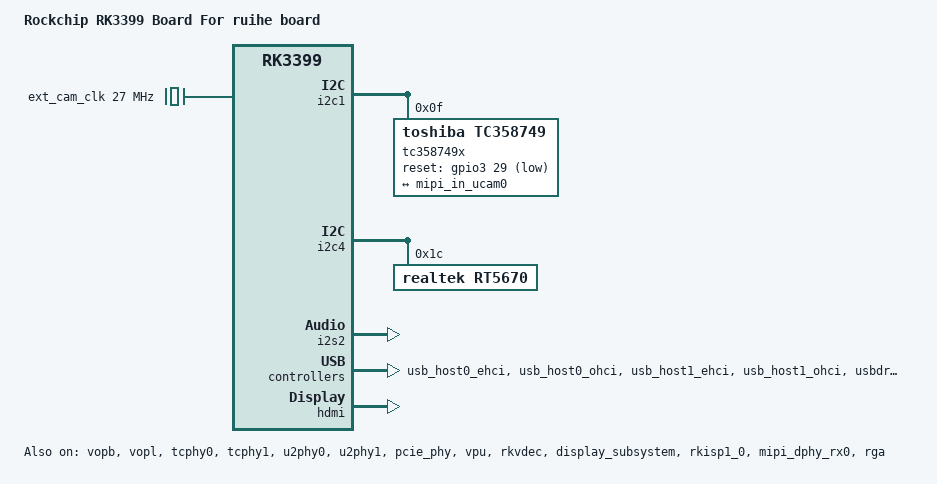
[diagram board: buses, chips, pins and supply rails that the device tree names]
/*
 * Copyright (c) 2016 Fuzhou Rockchip Electronics Co., Ltd
 *
 * This file is dual-licensed: you can use it either under the terms
 * of the GPL or the X11 license, at your option. Note that this dual
 * licensing only applies to this file, and not this project as a
 * whole.
 *
 *  a) This file is free software; you can redistribute it and/or
 *     modify it under the terms of the GNU General Public License as
 *     published by the Free Software Foundation; either version 2 of the
 *     License, or (at your option) any later version.
 *
 *     This file is distributed in the hope that it will be useful,
 *     but WITHOUT ANY WARRANTY; without even the implied warranty of
 *     MERCHANTABILITY or FITNESS FOR A PARTICULAR PURPOSE.  See the
 *     GNU General Public License for more details.
 *
 * Or, alternatively,
 *
 *  b) Permission is hereby granted, free of charge, to any person
 *     obtaining a copy of this software and associated documentation
 *     files (the "Software"), to deal in the Software without
 *     restriction, including without limitation the rights to use,
 *     copy, modify, merge, publish, distribute, sublicense, and/or
 *     sell copies of the Software, and to permit persons to whom the
 *     Software is furnished to do so, subject to the following
 *     conditions:
 *
 *     The above copyright notice and this permission notice shall be
 *     included in all copies or substantial portions of the Software.
 *
 *     THE SOFTWARE IS PROVIDED "AS IS", WITHOUT WARRANTY OF ANY KIND,
 *     EXPRESS OR IMPLIED, INCLUDING BUT NOT LIMITED TO THE WARRANTIES
 *     OF MERCHANTABILITY, FITNESS FOR A PARTICULAR PURPOSE AND
 *     NONINFRINGEMENT. IN NO EVENT SHALL THE AUTHORS OR COPYRIGHT
 *     HOLDERS BE LIABLE FOR ANY CLAIM, DAMAGES OR OTHER LIABILITY,
 *     WHETHER IN AN ACTION OF CONTRACT, TORT OR OTHERWISE, ARISING
 *     FROM, OUT OF OR IN CONNECTION WITH THE SOFTWARE OR THE USE OR
 *     OTHER DEALINGS IN THE SOFTWARE.
 */

/dts-v1/;
#include "rk3399-ruihe.dtsi"

/ {
	model = "Rockchip RK3399 Board For ruihe board";
	compatible = "rockchip-ruihe","rockchip,rk3399-ruihe";
	fiq_debugger: fiq-debugger {
		compatible = "rockchip,fiq-debugger";
		rockchip,serial-id = <2>;
		rockchip,signal-irq = <182>;
		rockchip,wake-irq = <0>;
		rockchip,irq-mode-enable = <1>;  /* If enable uart uses irq instead of fiq */
		rockchip,baudrate = <1500000>;  /* Only 115200 and 1500000 */
		pinctrl-names = "default";
		pinctrl-0 = <&uart2c_xfer>;
	};

	hdmi_codec: hdmi-codec {
		status="okay";
		compatible = "simple-audio-card";
		simple-audio-card,format = "i2s";
		simple-audio-card,mclk-fs = <256>;
		simple-audio-card,name = "HDMI-CODEC";

		simple-audio-card,cpu {
			sound-dai = <&i2s2>;
		};

		simple-audio-card,codec {
			sound-dai = <&hdmi>;
		};
	};

	rga: rga@ff680000 {
                compatible = "rockchip,rga2";
                dev_mode = <1>;
                reg = <0x0 0xff680000 0x0 0x1000>;
                interrupts = <GIC_SPI 55 IRQ_TYPE_LEVEL_HIGH 0>;
                clocks = <&cru ACLK_RGA>, <&cru HCLK_RGA>, <&cru SCLK_RGA_CORE>;
                clock-names = "aclk_rga", "hclk_rga", "clk_rga";
                power-domains = <&power RK3399_PD_RGA>;
                dma-coherent;
                status = "okay";
        };
	ext_cam_clk: external-camera-clock {
		compatible = "fixed-clock";
		clock-frequency = <27000000>;
		clock-output-names = "CLK_CAMERA_27MHZ";
		#clock-cells = <0>;
	};
};

&rga{
	status="okay";
};
&gpio3 {
	status = "okay";
};
&gpio4 {
	status = "okay";
};
&i2c1 {
	status = "okay";
	tc358749x: tc358749x@f {
		compatible = "toshiba,tc358749";
	//	#sound-dai-cells = <0>;
		reg = <0x0f>;
		status = "okay";
		clocks = <&ext_cam_clk>;
		clock-names = "refclk";
		reset-gpios = <&gpio3 29 GPIO_ACTIVE_LOW>;
		/* hardware irq-pin is dangling
		 * connect it to other gpio then configurate follow interrupt
		 * or del config just using software poll
		 */
		//interrupt-parent = <&gpio2>;
		//interrupts = <12 IRQ_TYPE_LEVEL_LOW>;
		pinctrl-names = "default";
		pinctrl-0 = <&hdmiin_gpios>;
		rockchip,camera-module-index = <0>;
		rockchip,camera-module-facing = "back";
		rockchip,camera-module-name = "CMK-CT0116";
		rockchip,camera-module-lens-name = "Largan-50013A1";
		port {
			hdmiin_out0: endpoint {
				/* Unlinked mipi dphy rx0 */
				remote-endpoint = <&mipi_in_ucam0>;
				data-lanes = <1 2 3 4>;
				clock-noncontinuous;
				link-frequencies =
					/bits/ 64 <297000000>;
			};
		};
	};
};

&i2c4 {
	status = "okay";
	rt5670: rt5670@1c {
		#sound-dai-cells = <0>;
		compatible = "realtek,rt5670";
		reg = <0x1c>;
		status = "okay";
	};
};

&i2s2 {
	status = "okay";
	#sound-dai-cells = <0>;
};

&vopb {
	status = "okay";
};

&vopb_mmu {
	status = "okay";
};

&vopl {
	status = "okay";
};

&vopl_mmu {
	status = "okay";
};

/* USB2.0 Host * 2 */
&usb_host0_ehci {
	status = "okay";
};

&usb_host0_ohci {
	status = "okay";
};

&usb_host1_ehci {
	status = "okay";
};

&usb_host1_ohci {
	status = "okay";
};

&tcphy0 {
	status = "okay";
};

&tcphy1 {
	status = "okay";
};

&u2phy0 {
        status = "okay";

        u2phy0_otg: otg-port {
                status = "okay";
        };

        u2phy0_host: host-port {
                phy-supply = <&vcc5v0_sys>;
                status = "okay";
        };
};

&u2phy1 {
        status = "okay";

        u2phy1_otg: otg-port {
                status = "okay";
        };

        u2phy1_host: host-port {
                phy-supply = <&vcc5v0_sys>;
                status = "okay";
        };
};

&usbdrd3_0 {
        status = "okay";
};

&usbdrd_dwc3_0 {
	pyhs = <&u2phy0_otg>;
	phy-names = "usb2-phy";
        status = "okay";
};

&usbdrd3_1 {
        status = "okay";
};

&usbdrd_dwc3_1 {
        status = "okay";
};

/* PCIE SATA HD */
&pcie_phy {
	status = "okay";
};

&vpu {
	status = "okay";
	/* 0 means ion, 1 means drm */
	//allocator = <0>;
};

&rkvdec {
	status = "okay";
	/* 0 means ion, 1 means drm */
	//allocator = <0>;
};

&display_subsystem {
	status = "okay";
};

&hdmi {
	#address-cells = <1>;
	#size-cells = <0>;
	#sound-dai-cells = <0>;
	status = "okay";
};

&rkisp1_0 {
	status = "okay";

	port {
		#address-cells = <1>;
		#size-cells = <0>;

		isp0_mipi_in: endpoint@0 {
			reg = <0>;
			remote-endpoint = <&dphy_rx0_out>;
		};
	};
};


&mipi_dphy_rx0 {
	status = "okay";

	ports {
		#address-cells = <1>;
		#size-cells = <0>;
		port@0 {
			reg = <0>;
			#address-cells = <1>;
			#size-cells = <0>;

			mipi_in_ucam0: endpoint@1 {
				reg = <1>;
				remote-endpoint = <&hdmiin_out0>;
				data-lanes = <1 2 3 4>;
			};
		};
		port@1 {
			reg = <1>;
			#address-cells = <1>;
			#size-cells = <0>;

			dphy_rx0_out: endpoint@0 {
				reg = <0>;
				remote-endpoint = <&isp0_mipi_in>;
			};
		};
	};
};

&isp0_mmu {
	status = "okay";
};


&isp1_mmu {
	status = "okay";
};

&pinctrl {
	hdmiin {
		hdmiin_gpios: hdmiin_gpios {
			rockchip,pins =
                                <2 2 RK_FUNC_GPIO &pcfg_output_low>,            //GPIO2_A2   MUTE
                                <2 3 RK_FUNC_GPIO &pcfg_output_low>,            //GPIO2_A3   RELAY_CK_OUT3
                                <2 4 RK_FUNC_GPIO &pcfg_output_high>,           //GPIO2_A4   ZIGBEE_RESET
                                <2 5 RK_FUNC_GPIO &pcfg_output_low>,            //GPIO2_A5   kz_12v_ctr_pc
                                <2 6 RK_FUNC_GPIO &pcfg_output_low>,            //GPIO2_A6   kz_pc_switch
                                <2 7 RK_FUNC_GPIO &pcfg_output_low>,            //GPIO2_A7   kz_5v_CTR

                                <2 8 RK_FUNC_GPIO &pcfg_output_high>,           //GPIO2_B0   SD_LR_CTR
                                <2 9 RK_FUNC_GPIO &pcfg_output_low>,            //GPIO2_B1   SPI2_RXD

                                <2 10 RK_FUNC_GPIO &pcfg_output_high>,          //GPIO2_B2   SPI2_TXD

                                <2 11 RK_FUNC_GPIO &pcfg_output_low>,           //GPIO2_B3   SPI_CLK

                                <2 12 RK_FUNC_GPIO &pcfg_output_low>,           //GPIO2_B4   SPI2_CSn0

                                <3 10 RK_FUNC_GPIO &pcfg_output_low>,           //GPIO3_B2    OUTPUT_IO3
                                <3 16 RK_FUNC_GPIO &pcfg_output_low>,           //GPIO3_C0    HDMI3399_DP_HPD


                                <1 3  RK_FUNC_GPIO &pcfg_output_low>,           //GPIO1_A3    HDMI3399_PORT_HPD

                                <1 4  RK_FUNC_GPIO &pcfg_output_high>,          //GPIO1_A4    HDMIIN2_PWR

                                <1 22  RK_FUNC_GPIO &pcfg_output_low>,          //GPIO1_C6     kz_5v_ctr_arm


                                <2 26  RK_FUNC_GPIO &pcfg_output_low>,          //GPIO2_D2     HDMI31_SEL2(PCIE_CLKREQ#)
                                <2 28  RK_FUNC_GPIO &pcfg_output_low>,          //GPIO2_D4     HDMI32_SEL1(PCIE_PERST#)

                                <3 30  RK_FUNC_GPIO &pcfg_output_low>,          //GPIO3_D6     RELAY_CK_OUT2

                                <4 7   RK_FUNC_GPIO &pcfg_output_high>,         //GPIO4_A7     HDMIIN_PWR

                                <4 18  RK_FUNC_GPIO &pcfg_output_low>,          //GPIO4_C2     LED_CTL

                                <4 24  RK_FUNC_GPIO &pcfg_output_low>,          //GPIO4_D0     OUTPUT_IO1
                                <4 27  RK_FUNC_GPIO &pcfg_output_low>,          //GPIO4_D3     HDMI31_SEL1
                                <4 28  RK_FUNC_GPIO &pcfg_output_low>,          //GPIO4_D4     FAN_CTL_H
                                <4 29 RK_FUNC_GPIO  &pcfg_output_high>,         //GPIO4_D5     PS176_HDMI_EN
                                <4 30 RK_FUNC_GPIO  &pcfg_output_low>,          //GPIO4_D6     OUTPUT_IO2

                                <0 2 RK_FUNC_GPIO &pcfg_output_low>,            //GPIO0_A2   HDMI4_IN_HPD_CTR
                                <0 6 RK_FUNC_GPIO &pcfg_output_low>,            //GPIO0_A6   HDMI6_IN_HPD_CTR
                                <0 8 RK_FUNC_GPIO &pcfg_output_low>,            //GPIO0_B0   HDMI5_IN_HPD_CTR
                                <0 11 RK_FUNC_GPIO &pcfg_output_low>,           //GPIO0_B3   HDMI32_SEL2
                                <0 12 RK_FUNC_GPIO &pcfg_output_low>,           //GPIO0_B4   HDMI2_IN_HPD_CTR
                                <0 13 RK_FUNC_GPIO &pcfg_output_low>,           //GPIO0_B5   HDMI3_IN_HPD_CTR

				//<2 5 RK_FUNC_GPIO &pcfg_output_high>,//HDMIIN_PWREN33  //
				<4 7 RK_FUNC_GPIO &pcfg_output_high>,//HDMIIN_PWREN
				<3 29 RK_FUNC_GPIO &pcfg_output_high>,//HDMIIN_RST
				<3 28 RK_FUNC_GPIO &pcfg_output_high>,//HDMIIN_STBY
				//<2 9 RK_FUNC_GPIO &pcfg_output_high>,//MIPI_RST  //
				//<2 10 RK_FUNC_GPIO &pcfg_output_low>,//CSI_CTL  //
				<4 5 RK_FUNC_GPIO &pcfg_pull_none>;//HDMIIN_INT

		};
		hdmiin2_gpios: hdmiin2_gpios {
                	rockchip,pins =
                                <1 4 RK_FUNC_GPIO &pcfg_pull_up>,               //HDMIIN2_PWR     GPIO1_A4
                                <1 1 RK_FUNC_GPIO &pcfg_pull_none>,             //MIPI_RX1_RST    GPIO1_A1
                                <1 2 RK_FUNC_GPIO &pcfg_pull_none>,             //MIPI_RX1_STBY   GPIO1_A2
                                <1 0 RK_FUNC_GPIO &pcfg_pull_none>;             //MIPI_RX1_INT    GPIO1_A0
                };


	};
};
